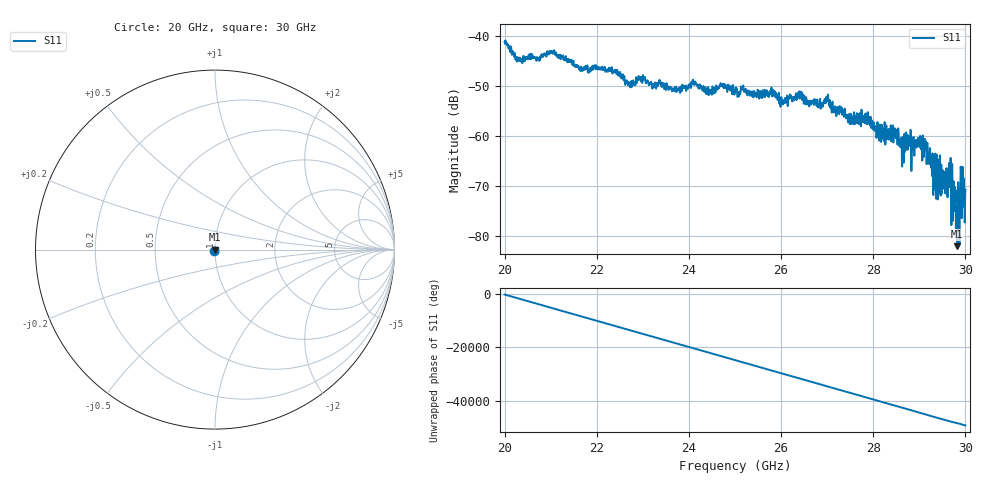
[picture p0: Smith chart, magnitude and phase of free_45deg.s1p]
#  HZ  S  RI  R  50.00
! Rohde & Schwarz ZVA40 4Ports - Version 3.90 - 1145.1110k42 SN: 100403
! Date: 2023-09-30 08:47:57
! Measurement: S12
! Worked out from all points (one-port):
!   5001 points, 20 GHz to 30 GHz, reference 50 ohm
!   lowest |S11| = -82.1 dB at 29.83 GHz (marker M1), VSWR 1.00, Z = 50 + j0.000566 ohm
!   |S11| at or under -10 dB: start of sweep to end of sweep
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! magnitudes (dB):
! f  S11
! 20 GHz  -41.1
! 20.34 GHz  -44.9
! 21.03 GHz  -43.3
! 21.25 GHz  -44.0
! 21.66 GHz  -46.1
! 22.5 GHz  -47.5
! 22.72 GHz  -50.0
! 23 GHz  -47.8
! 23.75 GHz  -50.9
! 24.1 GHz  -49.3
! 24.46 GHz  -50.9
! 24.69 GHz  -49.5
! 25 GHz  -51.2
! 26.25 GHz  -52.6
! 27.01 GHz  -53.0
! 27.5 GHz  -56.5
! 27.87 GHz  -55.9
! 28.15 GHz  -57.7
! 28.47 GHz  -59.2
! 28.62 GHz  -63.3
! 28.75 GHz  -62.1
! 29.12 GHz  -61.2
! 29.35 GHz  -64.0
! 29.67 GHz  -67.4
! 29.78 GHz  -71.8
! 29.83 GHz  -82.1
! 29.93 GHz  -74.8
! 30 GHz  -70.7
